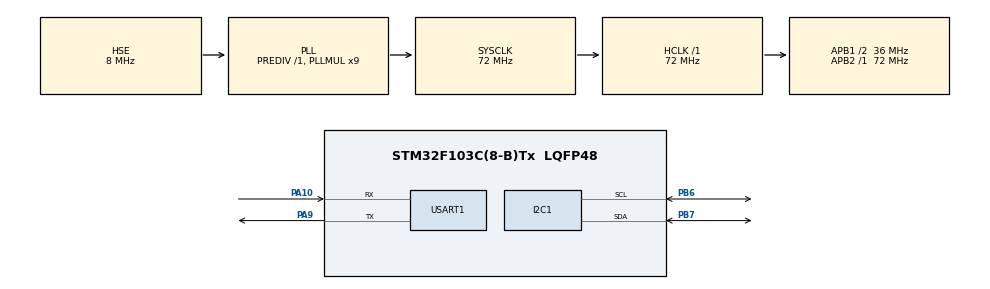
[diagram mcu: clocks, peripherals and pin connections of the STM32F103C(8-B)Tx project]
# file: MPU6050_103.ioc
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I2C1.I2C_Mode=I2C_Fast
Mcu.Family=STM32F1
Mcu.Name=STM32F103C(8-B)Tx
Mcu.Package=LQFP48
NVIC.PriorityGroup=NVIC_PRIORITYGROUP_4
NVIC.TIM4_IRQn=true\:15\:0\:false\:false\:true\:false\:true\:true
NVIC.TimeBase=TIM4_IRQn
NVIC.TimeBaseIP=TIM4
PA10.Mode=Asynchronous
PA10.Signal=USART1_RX
PA13.Mode=Serial_Wire
PA13.Signal=SYS_JTMS-SWDIO
PA14.Mode=Serial_Wire
PA14.Signal=SYS_JTCK-SWCLK
PA9.Mode=Asynchronous
PA9.Signal=USART1_TX
PB6.Mode=I2C
PB6.Signal=I2C1_SCL
PB7.Mode=I2C
PB7.Signal=I2C1_SDA
PD0-OSC_IN.Mode=HSE-External-Oscillator
PD0-OSC_IN.Signal=RCC_OSC_IN
PD1-OSC_OUT.Mode=HSE-External-Oscillator
PD1-OSC_OUT.Signal=RCC_OSC_OUT
ProjectManager.HeapSize=0x200
ProjectManager.StackSize=0x400
ProjectManager.TargetToolchain=STM32CubeIDE
RCC.AHBFreq_Value=72000000
RCC.APB1CLKDivider=RCC_HCLK_DIV2
RCC.APB1Freq_Value=36000000
RCC.APB1TimFreq_Value=72000000
RCC.APB2Freq_Value=72000000
RCC.APB2TimFreq_Value=72000000
RCC.HCLKFreq_Value=72000000
RCC.PLLMUL=RCC_PLL_MUL9
RCC.PLLSourceVirtual=RCC_PLLSOURCE_HSE
RCC.SYSCLKFreq_VALUE=72000000
RCC.SYSCLKSource=RCC_SYSCLKSOURCE_PLLCLK
RCC.USBFreq_Value=72000000
USART1.VirtualMode=VM_ASYNC
VP_SYS_VS_tim4.Mode=TIM4
board=custom

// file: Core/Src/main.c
/* USER CODE BEGIN Header */
/**
  ******************************************************************************
  * @file           : main.c
  * @brief          : Main program body
  ******************************************************************************
  * @attention
  *
  * Copyright (c) 2023 STMicroelectronics.
  * All rights reserved.
  *
  * This software is licensed under terms that can be found in the LICENSE file
  * in the root directory of this software component.
  * If no LICENSE file comes with this software, it is provided AS-IS.
  *
  ******************************************************************************
  */
/* USER CODE END Header */
#include "main.h"

/* USER CODE BEGIN Includes */
#include "math.h"
#include <stdio.h> /* для printf */

#define MPU6050_ADDR 0xD0
#define SMPLRT_DIV_REG 0x19
#define GYRO_CONFIG_REG 0x1B
#define ACCEL_CONFIG_REG 0x1C
#define ACCEL_XOUT_H_REG 0x3B
#define TEMP_OUT_H_REG 0x41
#define GYRO_XOUT_H_REG 0x43
#define PWR_MGMT_1_REG 0x6B
#define WHO_AM_I_REG 0x75

#define COMP_FILTER_ALPHA 0.98  // Коэффициент комплиментарного фильтра (от 0 до 1)

int16_t Accel_X_RAW = 0;
int16_t Accel_Y_RAW = 0;
int16_t Accel_Z_RAW = 0;

int16_t Gyro_X_RAW = 0;
int16_t Gyro_Y_RAW = 0;
int16_t Gyro_Z_RAW = 0;

float Ax, Ay, Az, Gx, Gy, Gz;

typedef struct {
	float aROLL;
	float aPitch;
	float aYaw;
} sensorData;

sensorData MPU6050_Data;

float prevPitch = 0.0;
float prevRoll = 0.0;
float prevYaw = 0.0;
/* USER CODE END Includes */

I2C_HandleTypeDef hi2c1;

UART_HandleTypeDef huart1;

void SystemClock_Config(void);
static void MX_GPIO_Init(void);
static void MX_I2C1_Init(void);
static void MX_USART1_UART_Init(void);
/* USER CODE BEGIN PFP */
int _write(int file, char *ptr, int len) {
	int i;
	HAL_UART_Transmit(&huart1, (uint8_t*) ptr, len, 50);
	for (i = 0; i < len; i++) {
		ITM_SendChar(*ptr++);
	}
	return len;
}
/* USER CODE END PFP */

/* USER CODE BEGIN 0 */
void MPU6050_Init (void)
{
	uint8_t check;
	uint8_t Data;

	// check device ID WHO_AM_I

	HAL_I2C_Mem_Read (&hi2c1, MPU6050_ADDR,WHO_AM_I_REG,1, &check, 1, 1000);

	if (check == 104)  // 0x68 will be returned by the sensor if everything goes well
	{
		// power management register 0X6B we should write all 0's to wake the sensor up //  Включение / пробудка модуля.
		Data = 0;
		HAL_I2C_Mem_Write(&hi2c1, MPU6050_ADDR, PWR_MGMT_1_REG, 1,&Data, 1, 1000);

		// Set DATA RATE of 1KHz by writing SMPLRT_DIV register
		Data = 0x07;
		HAL_I2C_Mem_Write(&hi2c1, MPU6050_ADDR, SMPLRT_DIV_REG, 1, &Data, 1, 1000);

		// Set accelerometer configuration in ACCEL_CONFIG Register
		// XA_ST=0,YA_ST=0,ZA_ST=0, FS_SEL=0 -> � 2g
		Data = 0x00;
		//Data = 0x10; // 2 => +-8g
		HAL_I2C_Mem_Write(&hi2c1, MPU6050_ADDR, ACCEL_CONFIG_REG, 1, &Data, 1, 1000);

		// Set Gyroscopic configuration in GYRO_CONFIG Register
		// XG_ST=0,YG_ST=0,ZG_ST=0, FS_SEL=0 -> � 250 �/s
		Data = 0x00;
		//Data = 0x8; // 1 => +-500s т.е. в 3-й бит установим 1
		HAL_I2C_Mem_Write(&hi2c1, MPU6050_ADDR, GYRO_CONFIG_REG, 1, &Data, 1, 1000);
	}

}

void MPU6050_Read_Accel (void)
{
	uint8_t Rec_Data[6];

	// Read 6 BYTES of data starting from ACCEL_XOUT_H register

	HAL_I2C_Mem_Read (&hi2c1, MPU6050_ADDR, ACCEL_XOUT_H_REG, 1, Rec_Data, 6, 1000);

	Accel_X_RAW = (int16_t)(Rec_Data[0] << 8 | Rec_Data [1]);
	Accel_Y_RAW = (int16_t)(Rec_Data[2] << 8 | Rec_Data [3]);
	Accel_Z_RAW = (int16_t)(Rec_Data[4] << 8 | Rec_Data [5]);

	/*** Для преобразования сырых значений акселерометра в ускорение в "g"
	необходимо разделить их на значение, установленное в регистре FS_SEL (полный диапазон шкалы).
	Мы установили FS_SEL равным 0, поэтому мы делите сырые значения на 16384.0.    ****/

	Ax = Accel_X_RAW/16384.0;// Преобразование Accel_X_RAW, в ускорение в единицах "g".
	Ay = Accel_Y_RAW/16384.0;// Преобразование Accel_Y_RAW, в ускорение в единицах "g".
	Az = Accel_Z_RAW/16384.0;// Преобразование Accel_Z_RAW, в ускорение в единицах "g".
	//printf("Ax = %lf   Ay = %lf   Az = %lf\r\n",Ax,Ay,Az);
}

void MPU6050_Read_Gyro (void)
{
	uint8_t Rec_Data[6];

	// Read 6 BYTES of data starting from GYRO_XOUT_H register
	HAL_StatusTypeDef status = HAL_I2C_Mem_Read (&hi2c1, MPU6050_ADDR, GYRO_XOUT_H_REG, 1, Rec_Data, 6, 1000);
    if (status != HAL_OK) {
        // Обработка ошибки чтения по I2C
        printf("Error reading gyro data via I2C\r\n");
        return;  // или выполните другие необходимые действия в случае ошибки
    }
	Gyro_X_RAW = (int16_t)(Rec_Data[0] << 8 | Rec_Data [1]);
	Gyro_Y_RAW = (int16_t)(Rec_Data[2] << 8 | Rec_Data [3]);
	Gyro_Z_RAW = (int16_t)(Rec_Data[4] << 8 | Rec_Data [5]);

	/*** Для преобразования сырых значений гироскопа в скорость вращения в "градусах в секунду"
	необходимо разделить их на значение, установленное в регистре FS_SEL.
	Мы установили FS_SEL равным 0, поэтому мы делите сырые значения на 131.0.    ****/

	Gx = Gyro_X_RAW/131.0; // Преобразование Gyro_X_RAW, в скорость вращения в единицах "градусы в секунду".
	Gy = Gyro_Y_RAW/131.0; // Преобразование Gyro_Y_RAW, в скорость вращения в единицах "градусы в секунду".
	Gz = Gyro_Z_RAW/131.0; // Преобразование Gyro_Z_RAW, в скорость вращения в единицах "градусы в секунду".

    // Вычисление угла Roll (Крен) (произведения наклона)
	//MPU6050_Data.aROLL = atan2(Ay, sqrt(Ax * Ax + Az * Az)) / 180.0 * M_PI;
	MPU6050_Data.aROLL = atan2(Ay, Az) * 180.0 / M_PI; // Крен (Roll)

//	float ROLL = mpu6050data[4] - fGY_Cal; // относительно "нуля"
//	ROLL = ROLL / 65.5 / 50; // TODO Укажи правильное количество измерений вместо 50!

	// Вычисление угла PITCH (Тангаж):
	MPU6050_Data.aPitch = atan2(-Ax, sqrt(Ay * Ay + Az * Az)) / 180.0 * M_PI;// Если отбросить деление (180.0 * M_PI) то, результат будет в радианах а не в градусах!
	//printf("Roll = %lf   Pitch = %lf\r\n",MPU6050_Data.aROLL,MPU6050_Data.aPitch);

	//float Yaw = (Gz - sumGz) / 131.0 / 50; // TODO Укажи правильное количество измерений вместо 50!
	float Yaw = (Gz) / 131.0;
	MPU6050_Data.aYaw = Yaw; // РЫСКАНЬЕ
	// Если есть перемещения по крену и тангажу и после мы делаем рыскание то изменяется и крен и тонгаж!
	// Но, датчик будет показывать только рысканье а крен и тангаж будет иметь прежние значения!
	// Нам нужно каждый раз пересчитывать и крен и тангаж относительно рысканья!
	if (Yaw > 0.01) { //Обработка рыскания: TODO сравнение с дельтой
		float _Y = sin(Yaw * 3.1415 / 180);
		MPU6050_Data.aPitch += MPU6050_Data.aROLL * _Y;
		MPU6050_Data.aROLL -= MPU6050_Data.aPitch * _Y;
	}
	//printf("ROLL:%f  Pithch:%f  Yaw:%f\r\n", MPU6050_Data.aROLL, MPU6050_Data.aPitch, MPU6050_Data.aYaw);
}

void ComplementaryFilter(float accelPitch, float gyroPitch, float accelRoll, float gyroRoll, float accelYaw, float gyroYaw) {
    // ... (ваш код без изменений)

    // Применение комплиментарного фильтра для сглаживания измерений акселерометра и гироскопа
    MPU6050_Data.aPitch = COMP_FILTER_ALPHA * (gyroPitch + accelPitch) + (1 - COMP_FILTER_ALPHA) * prevPitch;
    MPU6050_Data.aROLL = COMP_FILTER_ALPHA * (gyroRoll + accelRoll) + (1 - COMP_FILTER_ALPHA) * prevRoll;

    // Применение комплиментарного фильтра для угла Yaw
    MPU6050_Data.aYaw = COMP_FILTER_ALPHA * (gyroYaw + accelYaw) + (1 - COMP_FILTER_ALPHA) * prevYaw;

    printf("f_Pitch: %f, f_ROLL: %f, f_YAW: %f\r\n", MPU6050_Data.aPitch, MPU6050_Data.aROLL, MPU6050_Data.aYaw);
}
/* USER CODE END 0 */

int main(void)
{

  /* MCU Configuration--------------------------------------------------------*/

  /* Reset of all peripherals, Initializes the Flash interface and the Systick. */
  HAL_Init();

  /* Configure the system clock */
  SystemClock_Config();

  /* Initialize all configured peripherals */
  MX_GPIO_Init();
  MX_I2C1_Init();
  MX_USART1_UART_Init();
  /* USER CODE BEGIN 2 */
  MPU6050_Init();
  /* USER CODE END 2 */

  /* Infinite loop */
  while (1)
  {

    /* USER CODE BEGIN 3 */
	  MPU6050_Read_Accel();
	  MPU6050_Read_Gyro();
	  // Вычисление углов Pitch, Roll и Yaw из акселерометра
	  MPU6050_Data.aPitch = atan2(-Ax, sqrt(Ay * Ay + Az * Az)) * 180.0 / M_PI;
	  MPU6050_Data.aROLL = atan2(Ay, Az) * 180.0 / M_PI;
	  MPU6050_Data.aYaw = 0;  // Здесь нужно использовать данные магнитометра для полной оценки угла Yaw

	  ComplementaryFilter(MPU6050_Data.aPitch, Gx, MPU6050_Data.aROLL, Gy, MPU6050_Data.aYaw, Gz);

	  prevPitch = MPU6050_Data.aPitch;
	  prevRoll = MPU6050_Data.aROLL;
	  prevYaw = MPU6050_Data.aYaw;
	  HAL_Delay(20);
  }
  /* USER CODE END 3 */
}

void SystemClock_Config(void)
{
  RCC_OscInitTypeDef RCC_OscInitStruct = {0};
  RCC_ClkInitTypeDef RCC_ClkInitStruct = {0};

  /** Initializes the RCC Oscillators according to the specified parameters
  * in the RCC_OscInitTypeDef structure.
  */
  RCC_OscInitStruct.OscillatorType = RCC_OSCILLATORTYPE_HSE;
  RCC_OscInitStruct.HSEState = RCC_HSE_ON;
  RCC_OscInitStruct.HSEPredivValue = RCC_HSE_PREDIV_DIV1;
  RCC_OscInitStruct.HSIState = RCC_HSI_ON;
  RCC_OscInitStruct.PLL.PLLState = RCC_PLL_ON;
  RCC_OscInitStruct.PLL.PLLSource = RCC_PLLSOURCE_HSE;
  RCC_OscInitStruct.PLL.PLLMUL = RCC_PLL_MUL9;
  if (HAL_RCC_OscConfig(&RCC_OscInitStruct) != HAL_OK)
  {
    Error_Handler();
  }

  /** Initializes the CPU, AHB and APB buses clocks
  */
  RCC_ClkInitStruct.ClockType = RCC_CLOCKTYPE_HCLK|RCC_CLOCKTYPE_SYSCLK
                              |RCC_CLOCKTYPE_PCLK1|RCC_CLOCKTYPE_PCLK2;
  RCC_ClkInitStruct.SYSCLKSource = RCC_SYSCLKSOURCE_PLLCLK;
  RCC_ClkInitStruct.AHBCLKDivider = RCC_SYSCLK_DIV1;
  RCC_ClkInitStruct.APB1CLKDivider = RCC_HCLK_DIV2;
  RCC_ClkInitStruct.APB2CLKDivider = RCC_HCLK_DIV1;

  if (HAL_RCC_ClockConfig(&RCC_ClkInitStruct, FLASH_LATENCY_2) != HAL_OK)
  {
    Error_Handler();
  }
}

static void MX_I2C1_Init(void)
{

  hi2c1.Instance = I2C1;
  hi2c1.Init.ClockSpeed = 400000;
  hi2c1.Init.DutyCycle = I2C_DUTYCYCLE_2;
  hi2c1.Init.OwnAddress1 = 0;
  hi2c1.Init.AddressingMode = I2C_ADDRESSINGMODE_7BIT;
  hi2c1.Init.DualAddressMode = I2C_DUALADDRESS_DISABLE;
  hi2c1.Init.OwnAddress2 = 0;
  hi2c1.Init.GeneralCallMode = I2C_GENERALCALL_DISABLE;
  hi2c1.Init.NoStretchMode = I2C_NOSTRETCH_DISABLE;
  if (HAL_I2C_Init(&hi2c1) != HAL_OK)
  {
    Error_Handler();
  }

}

static void MX_USART1_UART_Init(void)
{

  huart1.Instance = USART1;
  huart1.Init.BaudRate = 115200;
  huart1.Init.WordLength = UART_WORDLENGTH_8B;
  huart1.Init.StopBits = UART_STOPBITS_1;
  huart1.Init.Parity = UART_PARITY_NONE;
  huart1.Init.Mode = UART_MODE_TX_RX;
  huart1.Init.HwFlowCtl = UART_HWCONTROL_NONE;
  huart1.Init.OverSampling = UART_OVERSAMPLING_16;
  if (HAL_UART_Init(&huart1) != HAL_OK)
  {
    Error_Handler();
  }

}

static void MX_GPIO_Init(void)
{

  /* GPIO Ports Clock Enable */
  __HAL_RCC_GPIOD_CLK_ENABLE();
  __HAL_RCC_GPIOA_CLK_ENABLE();
  __HAL_RCC_GPIOB_CLK_ENABLE();

}

void HAL_TIM_PeriodElapsedCallback(TIM_HandleTypeDef *htim)
{
  if (htim->Instance == TIM4) {
    HAL_IncTick();
  }
}

void Error_Handler(void)
{
  __disable_irq();
  while (1)
  {
  }
}
